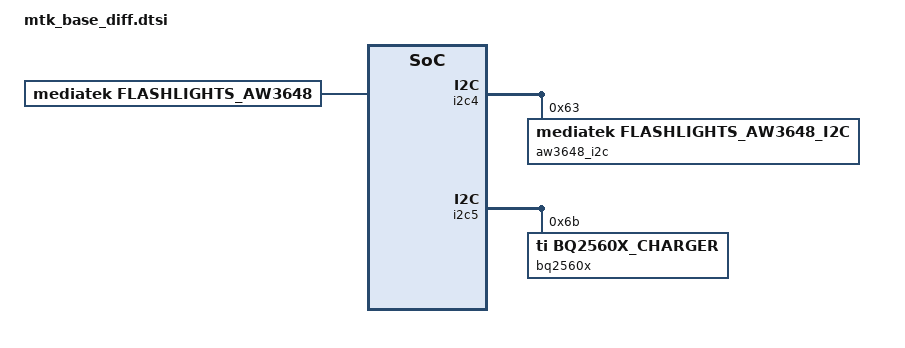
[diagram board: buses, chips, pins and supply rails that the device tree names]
/*
 * when you want to delete some nodes or property, modify this dtsi.
 * some diff between mtk and zte pluto.
 */

#include "../bat_setting/battery_protect_policy_080500100328.dtsi"

/{
	/*add for Z5156CC flash chip node*/
	flashlights_aw3648: flashlights_aw3648 {
		compatible = "mediatek,flashlights_aw3648";
	};
};

&i2c4 {
	aw3648_i2c: aw3648_i2c@63 {
		compatible = "mediatek,flashlights_aw3648_i2c";
		status = "okay";
		reg = <0x63>;
	};
};


 &i2c5 {
	bq2560x: bq2560x@6b {
		compatible = "ti,bq2560x_charger";
		status = "okay";
		reg = <0x6b>;

		charger_name = "primary_chg";
		alias_name = "bq2560x";
	};
};

&lk_charger {
	/delete-property/ enable_pe_plus;
	/delete-property/ enable_anime;
};

&charger {
	/delete-property/ enable_pe_plus;
	/delete-property/ enable_pe_2;
	/delete-property/ enable_pe_3;
	/delete-property/ enable_pe_4;
};

/ {
	/delete-node/ mt6370_pmu_dts;
};

/ {
	/delete-node/ type_c_port0;
};

